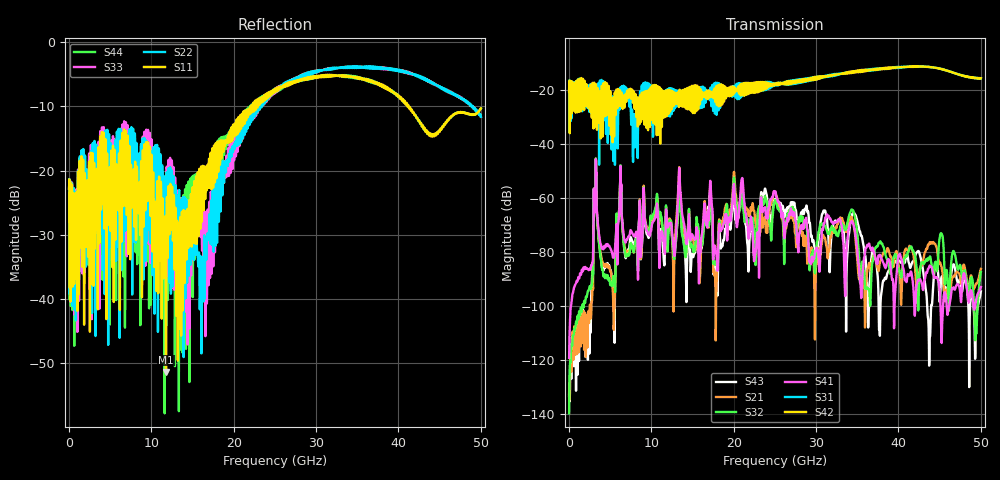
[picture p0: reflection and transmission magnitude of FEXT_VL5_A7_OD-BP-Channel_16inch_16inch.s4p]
#	Hz	S	RI	R	50
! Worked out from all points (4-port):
!   2500 points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, 20 MHz to 50 GHz, reference 50 ohm
!   strongest paths, dB at 20 MHz, 12.52 GHz, 25.02 GHz, 37.52 GHz, 50 GHz:
!     S42: -20.3, -23.5, -17.4, -11.9, -15.4
!     S31: -20.3, -21.3, -18.1, -12.0, -15.5
!     S41: -119.1, -73.0, -57.6, -82.1, -92.8
!     S32: -139.6, -74.1, -60.6, -77.3, -87.3
!     S21: -132.4, -74.8, -57.5, -86.3, -86.1
!     S43: -133.2, -74.8, -60.3, -91.1, -94.5
!   lowest |S11| = -51.3 dB at 11.78 GHz (marker M1), VSWR 1.01, Z = 49.7 - j0.0585 ohm
!   |S11| at or under -10 dB: start of sweep to 22.14 GHz; 22.2 GHz to 22.33 GHz (127.1 MHz wide, 0.571 % of centre); 41.23 GHz to end of sweep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
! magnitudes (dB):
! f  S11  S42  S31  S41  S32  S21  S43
! 20 MHz  -22.8  -20.3  -20.3  -119.1  -139.6  -132.4  -133.2
! 3.24 GHz  -23.2  -19.7  -23.1  -51.6  -51.3  -51.4  -51.3
! 4 GHz  -14.0  -18.5  -17.7  -78.6  -86.3  -83.2  -85.6
! 11.78 GHz  -51.3  -20.5  -21.4  -64.1  -62.6  -63.0  -65.0
! 21 GHz  -11.1  -18.2  -17.6  -52.7  -58.6  -55.4  -56.2
! 22.58 GHz  -9.1  -17.3  -17.2  -81.1  -77.4  -67.7  -78.4
! 50 GHz  -10.3  -15.4  -15.5  -92.8  -87.3  -86.1  -94.5
